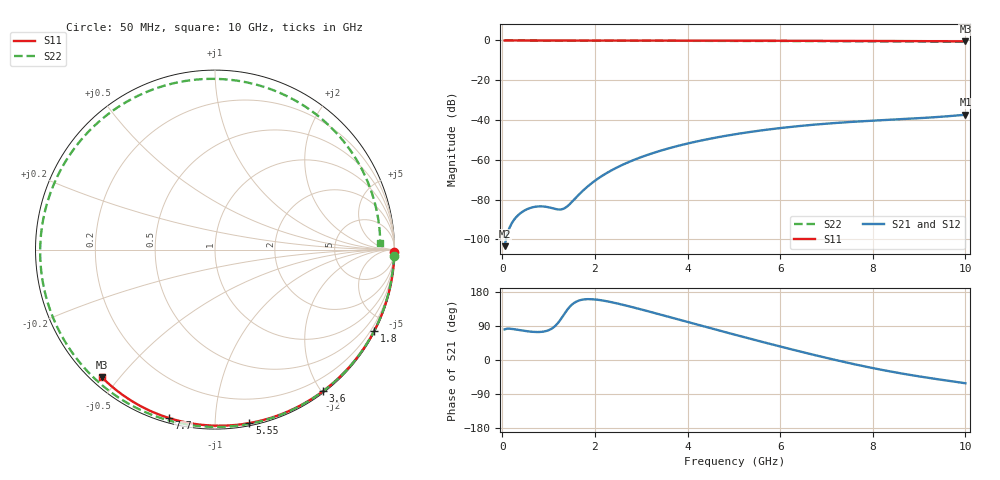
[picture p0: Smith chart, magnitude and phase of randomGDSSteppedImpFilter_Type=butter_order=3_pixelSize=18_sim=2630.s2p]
! freq	dB(S11)	phase(S11)	dB(S12)	phase(S12)
!  dB(S21)	phase(S21)	dB(S22)	phase(S22)
!S-par simulation data
#  GHz  S  DB  R 50
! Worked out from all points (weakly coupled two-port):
!   200 points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, 50 MHz to 10 GHz, reference 50 ohm
!   highest |S21| = -37.34 dB at 10 GHz (marker M1); lowest = -103.4 dB at 50 MHz (marker M2)
!   lowest |S11| = -0.4 dB at 10 GHz (marker M3), VSWR 39.18, Z = 1.53 - j22.4 ohm
!   |S11| at or under -10 dB: nowhere
!   |S22| runs from -0.7 to 0.0 dB; largest |S21 - S12| = 0
!   S11 on the Smith chart (normalised r, x): 50 MHz: open; 1.8 GHz: 0.04, -4.17; 3.6 GHz: 0.02, -2.02; 5.55 GHz: 0.02, -1.22; 7.7 GHz: 0.02, -0.76; 10 GHz: 0.03, -0.45
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0.05  -0.00 -0.8  -103.41 80.7  -103.41 80.7  -0.01 -2.1
0.75  -0.01 -11.3  -83.49 73.8  -83.49 73.8  -0.04 -31.6
1.15  -0.02 -17.3  -84.72 90.7  -84.72 90.7  -0.06 -48.0
1.55  -0.03 -23.3  -80.03 150.5  -80.03 150.5  -0.08 -63.7
1.75  -0.03 -26.2  -75.33 159.6  -75.33 159.6  -0.09 -71.3
1.8  -0.03 -27.0  -74.27 160.3  -74.27 160.3  -0.09 -73.2
2.1  -0.04 -31.4  -68.91 158.3  -68.91 158.3  -0.10 -84.2
2.45  -0.05 -36.5  -64.16 150.1  -64.16 150.1  -0.11 -96.6
3.4  -0.07 -50.0  -55.54 120.4  -55.54 120.4  -0.15 -128.0
3.6  -0.07 -52.7  -54.19 113.7  -54.19 113.7  -0.15 -134.3
4.35  -0.09 -63.0  -50.03 88.8  -50.03 88.8  -0.19 -157.1
5.05  -0.11 -72.3  -47.07 65.9  -47.07 65.9  -0.22 -178.0
5.55  -0.13 -78.8  -45.36 49.8  -45.36 49.8  -0.25 167.1
6.1  -0.15 -85.8  -43.79 32.5  -43.79 32.5  -0.29 150.2
6.7  -0.18 -93.2  -42.41 14.3  -42.41 14.3  -0.34 131.0
7.2  -0.21 -99.3  -41.48 -0.1  -41.48 -0.1  -0.38 114.1
7.7  -0.24 -105.2  -40.72 -13.7  -40.72 -13.7  -0.42 96.2
8.35  -0.29 -112.8  -39.90 -29.6  -39.90 -29.6  -0.48 71.4
8.8  -0.32 -118.0  -39.35 -39.3  -39.35 -39.3  -0.53 53.3
9.25  -0.37 -123.1  -38.72 -48.0  -38.72 -48.0  -0.59 34.4
9.65  -0.41 -127.7  -38.05 -55.2  -38.05 -55.2  -0.65 17.4
10  -0.44 -131.6  -37.34 -61.4  -37.34 -61.4  -0.71 2.3
